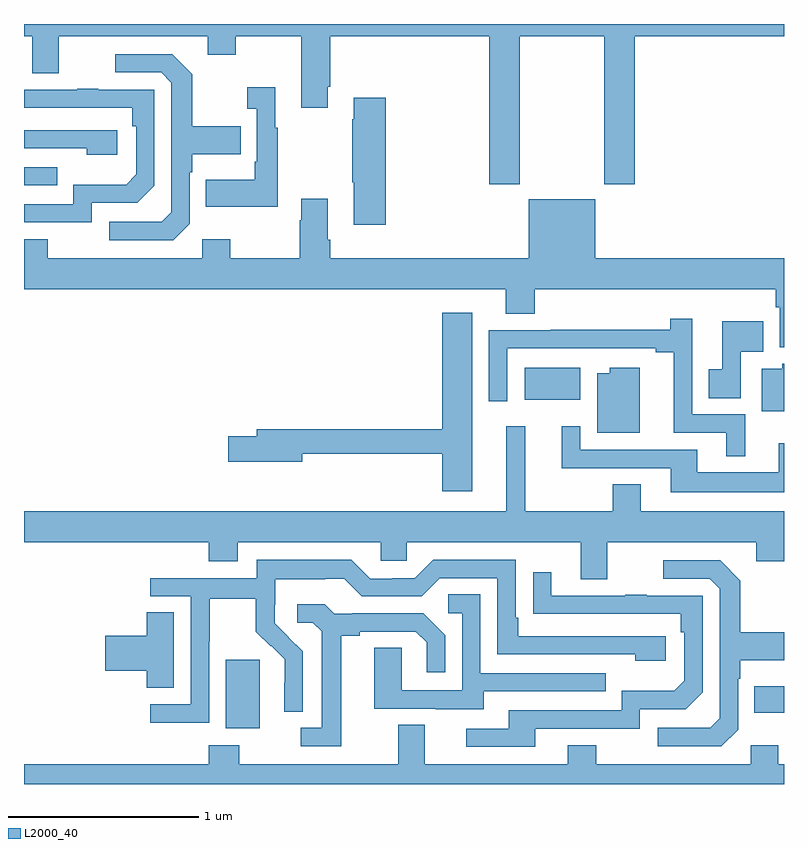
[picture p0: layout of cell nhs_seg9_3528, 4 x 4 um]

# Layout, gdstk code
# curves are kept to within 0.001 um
import gdstk
lib = gdstk.Library(unit=1e-6, precision=1e-09)
def R(c, l, rs):  # rectangles x0, y0, x1, y1
    for r in rs: c.add(gdstk.rectangle(r[:2], r[2:], *l))
def P(c, l, *ps):  # polygons
    for p in ps: c.add(gdstk.Polygon(p, *l))
L2000_40 = (2000, 40)

nhs_seg9_3528 = lib.new_cell('nhs_seg9_3528')
R(nhs_seg9_3528, L2000_40, [(314.063,1176.794,314.242,1177.155), (316.843,1176.875,317,1177.015), (315.635,1178.522,315.928,1178.692), (313,1179.651,313.175,1179.747)])
P(nhs_seg9_3528, L2000_40, [(315.609,1180.436),(316.054,1180.436),(316.054,1179.657),(316.214,1179.657),(316.214,1180.436),(317,1180.436),(317,1180.5),(313,1180.5),(313,1180.436),(313.043,1180.436),(313.043,1180.242),(313.183,1180.242),(313.183,1180.436),(313.967,1180.436),(313.967,1180.337),(314.115,1180.337),(314.115,1180.436),(314.459,1180.436),(314.459,1180.059),(314.599,1180.059),(314.599,1180.171),(314.612,1180.171),(314.612,1180.436),(315.449,1180.436),(315.449,1179.657),(315.609,1179.657)],
  [(313.872,1179.45),(313.872,1179.719),(313.885,1179.719),(313.885,1179.815),(314.141,1179.815),(314.141,1179.963),(313.885,1179.963),(313.885,1180.235),(313.779,1180.341),(313.479,1180.341),(313.479,1180.245),(313.722,1180.245),(313.776,1180.191),(313.776,1179.51),(313.725,1179.459),(313.449,1179.459),(313.449,1179.363),(313.785,1179.363)],
  [(314.335,1179.955),(314.323,1179.955),(314.323,1180.168),(314.175,1180.168),(314.175,1180.055),(314.226,1180.055),(314.226,1179.775),(314.214,1179.775),(314.214,1179.679),(313.957,1179.679),(313.957,1179.539),(314.335,1179.539)],
  [(313.356,1179.558),(313.596,1179.558),(313.686,1179.648),(313.686,1180.155),(313.391,1180.155),(313.391,1180.16),(313.279,1180.16),(313.279,1180.155),(313,1180.155),(313,1180.059),(313.57,1180.059),(313.57,1179.962),(313.59,1179.962),(313.59,1179.708),(313.537,1179.655),(313.26,1179.655),(313.26,1179.552),(313,1179.552),(313,1179.456),(313.356,1179.456)],
  [(314.903,1180.111),(314.735,1180.111),(314.735,1179.998),(314.728,1179.998),(314.728,1179.667),(314.735,1179.667),(314.735,1179.444),(314.903,1179.444)],
  [(313.492,1179.942),(313,1179.942),(313,1179.846),(313.331,1179.846),(313.331,1179.812),(313.492,1179.812)],
  [(317,1179.268),(316.006,1179.268),(316.006,1179.577),(315.656,1179.577),(315.656,1179.268),(314.612,1179.268),(314.612,1179.364),(314.599,1179.364),(314.599,1179.58),(314.459,1179.58),(314.459,1179.467),(314.452,1179.467),(314.452,1179.268),(314.085,1179.268),(314.085,1179.367),(313.938,1179.367),(313.938,1179.268),(313.125,1179.268),(313.125,1179.367),(313,1179.367),(313,1179.104),(315.536,1179.104),(315.536,1178.974),(315.689,1178.974),(315.689,1179.104),(316.957,1179.104),(316.957,1179.008),(316.977,1179.008),(316.977,1178.798),(317,1178.798)],
  [(315.358,1178.98),(315.2,1178.98),(315.2,1178.366),(314.225,1178.366),(314.225,1178.33),(314.076,1178.33),(314.076,1178.195),(314.464,1178.195),(314.464,1178.238),(315.2,1178.238),(315.2,1178.04),(315.358,1178.04)],
  [(316.795,1178.445),(316.518,1178.445),(316.518,1178.95),(316.402,1178.95),(316.402,1178.891),(315.772,1178.891),(315.772,1178.889),(315.447,1178.889),(315.447,1178.514),(315.543,1178.514),(315.543,1178.793),(316.325,1178.793),(316.325,1178.773),(316.421,1178.773),(316.421,1178.349),(316.697,1178.349),(316.697,1178.225),(316.795,1178.225)],
  [(316.773,1178.774),(316.892,1178.774),(316.892,1178.935),(316.676,1178.935),(316.676,1178.682),(316.603,1178.682),(316.603,1178.53),(316.773,1178.53)],
  [(317,1178.713),(316.992,1178.713),(316.992,1178.686),(316.883,1178.686),(316.883,1178.462),(317,1178.462)],
  [(316.24,1178.692),(316.082,1178.692),(316.082,1178.662),(316.016,1178.662),(316.016,1178.348),(316.24,1178.348)],
  [(317,1178.293),(316.973,1178.293),(316.973,1178.14),(316.543,1178.14),(316.543,1178.259),(315.927,1178.259),(315.927,1178.383),(315.83,1178.383),(315.83,1178.163),(316.403,1178.163),(316.403,1178.036),(317,1178.036)],
  [(313,1177.772),(313.973,1177.772),(313.973,1177.673),(314.125,1177.673),(314.125,1177.772),(314.877,1177.772),(314.877,1177.674),(315.015,1177.674),(315.015,1177.772),(315.929,1177.772),(315.929,1177.578),(316.069,1177.578),(316.069,1177.772),(316.853,1177.772),(316.853,1177.673),(317,1177.673),(317,1177.936),(316.246,1177.936),(316.246,1178.078),(316.099,1178.078),(316.099,1177.936),(315.638,1177.936),(315.638,1178.383),(315.539,1178.383),(315.539,1177.936),(313,1177.936)],
  [(313.974,1177.252),(313.977,1177.252),(313.977,1177.476),(314.221,1177.476),(314.221,1177.301),(314.298,1177.224),(314.301,1177.227),(314.372,1177.157),(314.372,1177.034),(314.37,1177.034),(314.37,1176.88),(314.466,1176.88),(314.466,1177.198),(314.32,1177.346),(314.32,1177.443),(314.322,1177.443),(314.322,1177.577),(314.585,1177.577),(314.585,1177.581),(314.685,1177.581),(314.778,1177.488),(315.093,1177.488),(315.189,1177.584),(315.492,1177.584),(315.492,1177.182),(316.217,1177.182),(316.217,1177.148),(316.378,1177.148),(316.378,1177.278),(315.601,1177.278),(315.601,1177.375),(315.588,1177.375),(315.588,1177.68),(315.153,1177.68),(315.057,1177.584),(314.939,1177.584),(314.939,1177.581),(314.823,1177.581),(314.723,1177.681),(314.226,1177.681),(314.226,1177.584),(313.665,1177.584),(313.665,1177.488),(313.878,1177.488),(313.878,1176.921),(313.665,1176.921),(313.665,1176.823),(313.974,1176.823)],
  [(316.758,1176.786),(316.758,1177.055),(316.771,1177.055),(316.771,1177.151),(317,1177.151),(317,1177.299),(316.771,1177.299),(316.771,1177.571),(316.665,1177.677),(316.365,1177.677),(316.365,1177.581),(316.608,1177.581),(316.662,1177.527),(316.662,1176.846),(316.611,1176.795),(316.335,1176.795),(316.335,1176.699),(316.671,1176.699)],
  [(315.691,1176.792),(316.242,1176.792),(316.242,1176.894),(316.482,1176.894),(316.572,1176.984),(316.572,1177.491),(316.277,1177.491),(316.277,1177.496),(316.165,1177.496),(316.165,1177.491),(315.775,1177.491),(315.775,1177.615),(315.679,1177.615),(315.679,1177.396),(316.456,1177.395),(316.456,1177.298),(316.476,1177.298),(316.476,1177.044),(316.423,1176.991),(316.146,1176.991),(316.146,1176.888),(315.551,1176.888),(315.551,1176.792),(315.327,1176.792),(315.327,1176.696),(315.691,1176.696)],
  [(315.421,1176.987),(316.061,1176.987),(316.061,1177.083),(315.402,1177.083),(315.402,1177.499),(315.234,1177.499),(315.234,1177.398),(315.306,1177.398),(315.306,1176.993),(314.988,1176.993),(314.988,1177.217),(314.843,1177.217),(314.843,1176.897),(315.167,1176.897),(315.167,1176.893),(315.421,1176.893)],
  [(314.671,1177.28),(314.767,1177.28),(314.767,1177.302),(315.062,1177.302),(315.119,1177.245),(315.119,1177.089),(315.216,1177.089),(315.216,1177.282),(315.1,1177.398),(314.728,1177.398),(314.728,1177.395),(314.634,1177.395),(314.582,1177.447),(314.439,1177.447),(314.439,1177.35),(314.52,1177.35),(314.567,1177.303),(314.567,1176.795),(314.457,1176.795),(314.457,1176.699),(314.671,1176.699)],
  [(313.789,1177.403),(313.646,1177.403),(313.646,1177.28),(313.428,1177.28),(313.428,1177.097),(313.646,1177.097),(313.646,1177.006),(313.789,1177.006)],
  [(317,1176.604),(316.971,1176.604),(316.971,1176.703),(316.824,1176.703),(316.824,1176.604),(316.011,1176.604),(316.011,1176.703),(315.863,1176.703),(315.863,1176.604),(315.109,1176.604),(315.109,1176.812),(314.969,1176.812),(314.969,1176.604),(314.133,1176.604),(314.133,1176.703),(313.973,1176.703),(313.973,1176.604),(313,1176.604),(313,1176.5),(317,1176.5)])

lib.write_gds('nhs_seg9_3528.gds')
